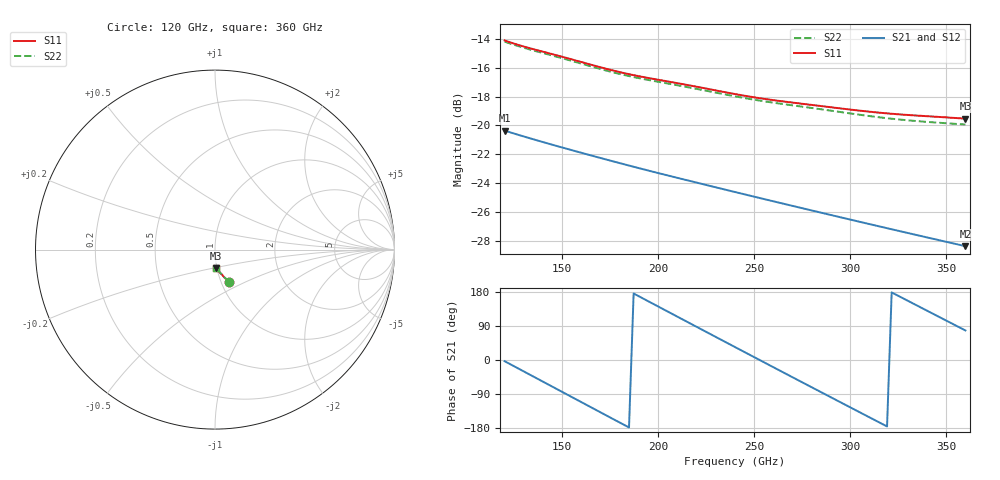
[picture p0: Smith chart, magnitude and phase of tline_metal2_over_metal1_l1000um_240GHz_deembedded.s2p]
! Created with skrf 2.2.0 (http://scikit-rf.org).
# GHz S DB R 50.0
! Port[1] = P1
! Port[2] = P2
!freq dBS11 angS11 dBS21 angS21 dBS12 angS12 dBS22 angS22
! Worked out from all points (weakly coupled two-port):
!   101 points, 120 GHz to 360 GHz, reference 50 ohm
!   highest |S21| = -20.36 dB at 120 GHz (marker M1); lowest = -28.4 dB at 360 GHz (marker M2)
!   lowest |S11| = -19.5 dB at 360 GHz (marker M3), VSWR 1.24, Z = 49.6 - j10.6 ohm
!   |S11| at or under -10 dB: start of sweep to end of sweep
!   |S22| runs from -19.9 to -14.2 dB; largest |S21 - S12| = 1.1e-13
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120  -14.11 -66.3  -20.36 -3.2  -20.36 -3.2  -14.19 -66.4
129.6  -14.51 -67.2  -20.75 -29.1  -20.75 -29.1  -14.60 -67.3
141.6  -14.94 -68.6  -21.22 -61.6  -21.22 -61.6  -15.04 -68.7
151.2  -15.28 -69.9  -21.58 -87.5  -21.58 -87.5  -15.39 -70.0
160.8  -15.63 -71.2  -21.93 -113.4  -21.93 -113.4  -15.75 -71.3
170.4  -15.98 -72.2  -22.27 -139.3  -22.27 -139.3  -16.10 -72.3
180  -16.30 -73.0  -22.62 -165.2  -22.62 -165.2  -16.43 -73.1
189.6  -16.58 -73.8  -22.95 169.0  -22.95 169.0  -16.71 -73.9
201.6  -16.87 -74.9  -23.36 136.9  -23.36 136.9  -17.01 -74.9
211.2  -17.10 -75.9  -23.68 111.1  -23.68 111.1  -17.24 -75.9
220.8  -17.34 -76.9  -23.99 85.4  -23.99 85.4  -17.49 -77.0
230.4  -17.58 -77.8  -24.31 59.8  -24.31 59.8  -17.74 -77.9
240  -17.82 -78.6  -24.62 34.1  -24.62 34.1  -17.98 -78.7
249.6  -18.04 -79.2  -24.93 8.6  -24.93 8.6  -18.21 -79.4
259.2  -18.23 -79.7  -25.24 -16.9  -25.24 -16.9  -18.41 -80.0
271.2  -18.44 -80.5  -25.62 -48.8  -25.62 -48.8  -18.63 -80.8
280.8  -18.59 -81.1  -25.92 -74.2  -25.92 -74.2  -18.81 -81.6
292.8  -18.79 -81.9  -26.30 -105.9  -26.30 -105.9  -19.03 -82.4
304.8  -18.97 -82.6  -26.68 -137.5  -26.68 -137.5  -19.26 -83.2
321.6  -19.19 -83.4  -27.20 178.3  -27.20 178.3  -19.54 -83.8
343.2  -19.39 -84.7  -27.87 121.8  -27.87 121.8  -19.79 -84.6
360  -19.53 -85.9  -28.38 78.0  -28.38 78.0  -19.94 -85.4
